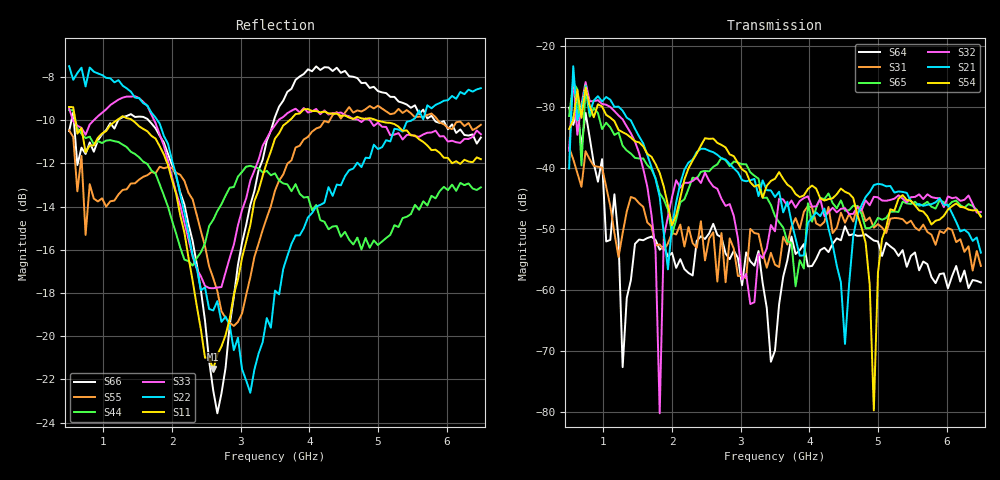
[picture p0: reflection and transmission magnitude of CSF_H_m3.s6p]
!Keysight Technologies,M9804A,MY58100912,A.14.10.03
!Date: Thursday, April 27, 2023 10:28:33
!Correction: S11(C  6-Port  )
!S12(C  6-Port  )
!S13(C  6-Port  )
!S14(C  6-Port  )
!S15(C  6-Port  )
!S16(C  6-Port  )
!S21(C  6-Port  )
!S22(C  6-Port  )
!S23(C  6-Port  )
!S24(C  6-Port  )
!S25(C  6-Port  )
!S26(C  6-Port  )
!S31(C  6-Port  )
!S32(C  6-Port  )
!S33(C  6-Port  )
!S34(C  6-Port  )
!S35(C  6-Port  )
!S36(C  6-Port  )
!S41(C  6-Port  )
!S42(C  6-Port  )
!S43(C  6-Port  )
!S44(C  6-Port  )
!S45(C  6-Port  )
!S46(C  6-Port  )
!S51(C  6-Port  )
!S52(C  6-Port  )
!S53(C  6-Port  )
!S54(C  6-Port  )
!S55(C  6-Port  )
!S56(C  6-Port  )
!S61(C  6-Port  )
!S62(C  6-Port  )
!S63(C  6-Port  )
!S64(C  6-Port  )
!S65(C  6-Port  )
!S66(C  6-Port  )
!S6P File: Measurement: :
# Hz S  RI  R 50
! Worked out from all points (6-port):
!   101 points, 500 MHz to 6.5 GHz, reference 50 ohm
!   strongest paths, dB at 500 MHz, 2 GHz, 3.5 GHz, 5 GHz, 6.5 GHz:
!     S54: -33.7, -49.4, -41.8, -57.2, -48.0
!     S21: -40.1, -49.5, -44.8, -42.6, -53.9
!     S32: -37.2, -44.8, -50.4, -44.9, -47.2
!     S65: -31.5, -50.9, -47.9, -48.2, -47.9
!     S31: -36.7, -50.7, -55.9, -49.2, -56.1
!     S64: -30.2, -54.0, -69.9, -52.1, -58.8
!   lowest |S11| = -21.5 dB at 2.6 GHz (marker M1), VSWR 1.18, Z = 42.5 + j2.15 ohm
!   |S11| at or under -10 dB: 589.4 MHz to 1.197 GHz (607.5 MHz wide, 68 % of centre); 1.42 GHz to 3.715 GHz (2.295 GHz wide, 89.4 % of centre); 4.975 GHz to end of sweep
